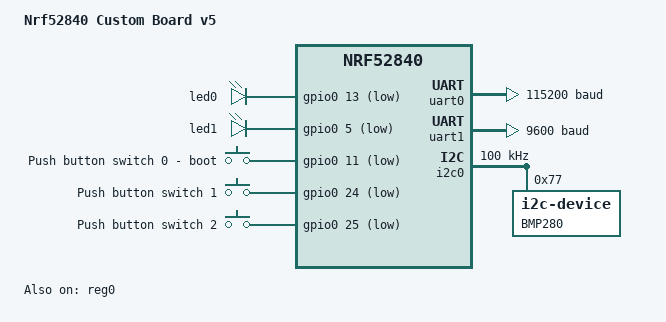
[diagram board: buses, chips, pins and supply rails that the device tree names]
/*
 * Copyright (c) 2017 Linaro Limited
 *
 * SPDX-License-Identifier: Apache-2.0
 */

/dts-v1/;
#include <nordic/nrf52840_qiaa.dtsi>
#include <nordic/nrf52840_partition.dtsi>
#include "nrf52840_custom_board_v5_nrf52840-pinctrl.dtsi"
#include <zephyr/dt-bindings/input/input-event-codes.h>

/ {
	model = "Nrf52840 Custom Board v5";
	compatible = "nordic,nrf52840-custom-board-v5-nrf52840";

	chosen {
		zephyr,console = &uart0;
		zephyr,shell-uart = &uart0;
		zephyr,uart-mcumgr = &uart0;
		zephyr,bt-mon-uart = &uart0;
		zephyr,bt-c2h-uart = &uart0;
	};

	leds {
		compatible = "gpio-leds";
		led0: led_0 {
			gpios = <&gpio0 13 GPIO_ACTIVE_LOW>;
		};
		led1: led_1 {
			gpios = <&gpio0 5 GPIO_ACTIVE_LOW>;
		};
	};

	buttons {
		compatible = "gpio-keys";
		button_boot: button_0 {
			gpios = <&gpio0 11 (GPIO_PULL_UP | GPIO_ACTIVE_LOW)>;
			label = "Push button switch 0 - boot";
			zephyr,code = <INPUT_KEY_0>;
		};

		button_one: button_1 {
			gpios = <&gpio0 24 (GPIO_PULL_UP | GPIO_ACTIVE_LOW)>;				//DK
			//gpios = <&gpio0 12 (GPIO_PULL_UP | GPIO_ACTIVE_LOW)>;				//MUPT
			label = "Push button switch 1";
			zephyr,code = <INPUT_KEY_1>;
		};

		button_two: button_2 {
			gpios = <&gpio0 25 (GPIO_PULL_UP | GPIO_ACTIVE_LOW)>;				//DK
			//gpios = <&gpio0 26 (GPIO_PULL_UP | GPIO_ACTIVE_LOW)>;				//MUPT
			label = "Push button switch 2";
			zephyr,code = <INPUT_KEY_2>;
		};

	};

	/* These aliases are provided for compatibility with samples */
	aliases {
		led0 = &led0;
		led1 = &led1;
		bootloader-led0 = &led0;
		mcuboot-button0 = &button_boot;
		button1 = &button_one;				//sw1
		button2 = &button_two;				//sw2
//		bmp280alias = &bmp280_sensor;
		mcuboot-led0 = &led0;
		watchdog0 = &wdt0;
	};
};

&reg0 {
	status = "okay";
};

&reg1 {
	regulator-initial-mode = <NRF5X_REG_MODE_DCDC>;
};

&gpio0 {
	status = "okay";
};

&uart0 {
	compatible = "nordic,nrf-uarte";
	status = "okay";
	current-speed = <115200>;
	pinctrl-0 = <&uart0_default>;
	pinctrl-1 = <&uart0_sleep>;
	pinctrl-names = "default", "sleep";
};

&uart1 {
	compatible = "nordic,nrf-uarte";
	status = "okay";
	current-speed = <9600>;
	parity = "none";
	stop-bits = "1";
	data-bits = < 8 >;
	pinctrl-0 = <&uart1_default>;
	pinctrl-1 = <&uart1_sleep>;
	pinctrl-names = "default", "sleep";
};

&i2c0 {
	compatible = "nordic,nrf-twim";				//we set i2c master
	status = "okay";							//enable driver
	pinctrl-0 = <&i2c0_default>;
	pinctrl-1 = <&i2c0_sleep>;
	pinctrl-names = "default", "sleep";			//assign the pins to the device state
	clock-frequency = <100000>;					//set 100kb, standard i2c speed
	bmp280_sensor: bmp280_sensor@77{			//add bmp280 as node and the cell address - cell address must be the same as the reg value!
		compatible = "i2c-device";				//set the node type
		reg = < 0x77 >;							//this is the sensor address
		label ="BMP280";						//label for giggles
	};
	
};

&gpiote {
	status = "okay";
};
